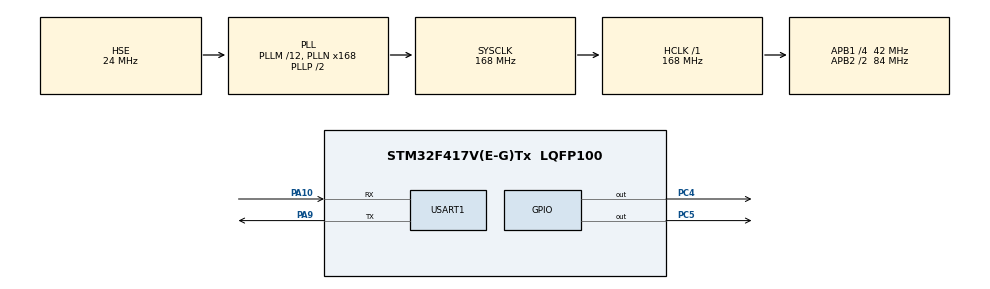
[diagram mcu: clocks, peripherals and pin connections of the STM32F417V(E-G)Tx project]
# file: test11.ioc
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FREERTOS.Tasks01=defaultTask,0,128,StartDefaultTask,Default,NULL,Dynamic,NULL,NULL;Send,1,128,SendTask,Default,NULL,Dynamic,NULL,NULL;Receive1,0,128,Receive1Task,Default,NULL,Dynamic,NULL,NULL;Receive2,-1,128,Receive2Task,Default,NULL,Dynamic,NULL,NULL
FREERTOS.configUSE_NEWLIB_REENTRANT=1
Mcu.Family=STM32F4
Mcu.Name=STM32F417V(E-G)Tx
Mcu.Package=LQFP100
NVIC.PriorityGroup=NVIC_PRIORITYGROUP_4
NVIC.TIM1_UP_TIM10_IRQn=true\:15\:0\:false\:false\:true\:false\:false\:true\:true
NVIC.TimeBase=TIM1_UP_TIM10_IRQn
NVIC.TimeBaseIP=TIM1
NVIC.USART1_IRQn=true\:5\:0\:false\:false\:true\:true\:true\:true\:true
PA10.GPIO_ModeDefaultPP=GPIO_MODE_AF_PP
PA10.GPIO_PuPd=GPIO_PULLUP
PA10.GPIO_Speed=GPIO_SPEED_FREQ_HIGH
PA10.Mode=Asynchronous
PA10.Signal=USART1_RX
PA13.Mode=Trace_Synchro_2bits_SW
PA13.Signal=SYS_JTMS-SWDIO
PA14.Mode=Trace_Synchro_2bits_SW
PA14.Signal=SYS_JTCK-SWCLK
PA9.GPIO_ModeDefaultPP=GPIO_MODE_AF_PP
PA9.GPIO_PuPd=GPIO_PULLUP
PA9.GPIO_Speed=GPIO_SPEED_FREQ_HIGH
PA9.Mode=Asynchronous
PA9.Signal=USART1_TX
PC14-OSC32_IN.Mode=LSE-External-Oscillator
PC14-OSC32_IN.Signal=RCC_OSC32_IN
PC15-OSC32_OUT.Mode=LSE-External-Oscillator
PC15-OSC32_OUT.Signal=RCC_OSC32_OUT
PC4.GPIO_ModeDefaultOutputPP=GPIO_MODE_OUTPUT_PP
PC4.GPIO_PuPd=GPIO_PULLUP
PC4.GPIO_Speed=GPIO_SPEED_FREQ_HIGH
PC4.PinState=GPIO_PIN_SET
PC4.Signal=GPIO_Output
PC5.GPIO_ModeDefaultOutputPP=GPIO_MODE_OUTPUT_PP
PC5.GPIO_PuPd=GPIO_PULLUP
PC5.GPIO_Speed=GPIO_SPEED_FREQ_HIGH
PC5.PinState=GPIO_PIN_SET
PC5.Signal=GPIO_Output
PE2.Mode=Trace_Synchro_2bits_SW
PE2.Signal=SYS_TRACECLK
PE3.Mode=Trace_Synchro_2bits_SW
PE3.Signal=SYS_TRACED0
PE4.Mode=Trace_Synchro_2bits_SW
PE4.Signal=SYS_TRACED1
PH0-OSC_IN.Mode=HSE-External-Oscillator
PH0-OSC_IN.Signal=RCC_OSC_IN
PH1-OSC_OUT.Mode=HSE-External-Oscillator
PH1-OSC_OUT.Signal=RCC_OSC_OUT
ProjectManager.HeapSize=0x200
ProjectManager.StackSize=0x400
ProjectManager.TargetToolchain=STM32CubeIDE
RCC.48MHZClocksFreq_Value=84000000
RCC.AHBFreq_Value=168000000
RCC.APB1CLKDivider=RCC_HCLK_DIV4
RCC.APB1Freq_Value=42000000
RCC.APB1TimFreq_Value=84000000
RCC.APB2CLKDivider=RCC_HCLK_DIV2
RCC.APB2Freq_Value=84000000
RCC.APB2TimFreq_Value=168000000
RCC.CortexFreq_Value=168000000
RCC.HCLKFreq_Value=168000000
RCC.HSE_VALUE=24000000
RCC.HSI_VALUE=16000000
RCC.PLLM=12
RCC.PLLN=168
RCC.PLLSourceVirtual=RCC_PLLSOURCE_HSE
RCC.SYSCLKFreq_VALUE=168000000
RCC.SYSCLKSource=RCC_SYSCLKSOURCE_PLLCLK
RCC.VCOOutputFreq_Value=336000000
USART1.VirtualMode=VM_ASYNC
VP_FREERTOS_VS_CMSIS_V1.Mode=CMSIS_V1
VP_SYS_VS_tim1.Mode=TIM1
board=custom

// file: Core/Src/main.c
/* USER CODE BEGIN Header */
/**
  ******************************************************************************
  * @file           : main.c
  * @brief          : Main program body
  ******************************************************************************
  * @attention
  *
  * Copyright (c) 2022 STMicroelectronics.
  * All rights reserved.
  *
  * This software is licensed under terms that can be found in the LICENSE file
  * in the root directory of this software component.
  * If no LICENSE file comes with this software, it is provided AS-IS.
  *
  ******************************************************************************
  */
/* USER CODE END Header */
#include "main.h"
#include "cmsis_os.h"
#include "usart.h"
#include "gpio.h"

/* USER CODE BEGIN Includes */
#include "stdio.h"	//引用标准库
/* USER CODE END Includes */

void SystemClock_Config(void);
void MX_FREERTOS_Init(void);
/* USER CODE BEGIN PFP */
#ifdef __GNUC__
#define PUTCHAR_PROTOTYPE int __io_putchar(int ch)   //STM32CubeIDE
#else

#define PUTCHAR_PROTOTYPE int fputc(int ch, FILE *f)  //Keil

#endif
PUTCHAR_PROTOTYPE
{
	HAL_UART_Transmit(&huart1, (uint8_t*)&ch, 1, HAL_MAX_DELAY);
	return ch;
}

int _write(int file, char *ptr, int len)
{
	int DataIdx;

	for(DataIdx=0; DataIdx<len; DataIdx++)
	{
		__io_putchar(*ptr++);
	}

	return len;
}
/* USER CODE END PFP */

int main(void)
{

  /* MCU Configuration--------------------------------------------------------*/

  /* Reset of all peripherals, Initializes the Flash interface and the Systick. */
  HAL_Init();

  /* Configure the system clock */
  SystemClock_Config();

  /* Initialize all configured peripherals */
  MX_GPIO_Init();
  MX_USART1_UART_Init();

  /* Call init function for freertos objects (in freertos.c) */
  MX_FREERTOS_Init();

  /* Start scheduler */
  osKernelStart();

  /* We should never get here as control is now taken by the scheduler */
  /* Infinite loop */
  while (1)
  {

  }
}

void SystemClock_Config(void)
{
  RCC_OscInitTypeDef RCC_OscInitStruct = {0};
  RCC_ClkInitTypeDef RCC_ClkInitStruct = {0};

  /** Configure the main internal regulator output voltage
  */
  __HAL_RCC_PWR_CLK_ENABLE();
  __HAL_PWR_VOLTAGESCALING_CONFIG(PWR_REGULATOR_VOLTAGE_SCALE1);

  /** Initializes the RCC Oscillators according to the specified parameters
  * in the RCC_OscInitTypeDef structure.
  */
  RCC_OscInitStruct.OscillatorType = RCC_OSCILLATORTYPE_HSE;
  RCC_OscInitStruct.HSEState = RCC_HSE_ON;
  RCC_OscInitStruct.PLL.PLLState = RCC_PLL_ON;
  RCC_OscInitStruct.PLL.PLLSource = RCC_PLLSOURCE_HSE;
  RCC_OscInitStruct.PLL.PLLM = 12;
  RCC_OscInitStruct.PLL.PLLN = 168;
  RCC_OscInitStruct.PLL.PLLP = RCC_PLLP_DIV2;
  RCC_OscInitStruct.PLL.PLLQ = 4;
  if (HAL_RCC_OscConfig(&RCC_OscInitStruct) != HAL_OK)
  {
    Error_Handler();
  }

  /** Initializes the CPU, AHB and APB buses clocks
  */
  RCC_ClkInitStruct.ClockType = RCC_CLOCKTYPE_HCLK|RCC_CLOCKTYPE_SYSCLK
                              |RCC_CLOCKTYPE_PCLK1|RCC_CLOCKTYPE_PCLK2;
  RCC_ClkInitStruct.SYSCLKSource = RCC_SYSCLKSOURCE_PLLCLK;
  RCC_ClkInitStruct.AHBCLKDivider = RCC_SYSCLK_DIV1;
  RCC_ClkInitStruct.APB1CLKDivider = RCC_HCLK_DIV4;
  RCC_ClkInitStruct.APB2CLKDivider = RCC_HCLK_DIV2;

  if (HAL_RCC_ClockConfig(&RCC_ClkInitStruct, FLASH_LATENCY_5) != HAL_OK)
  {
    Error_Handler();
  }
}

void HAL_TIM_PeriodElapsedCallback(TIM_HandleTypeDef *htim)
{
  if (htim->Instance == TIM1) {
    HAL_IncTick();
  }
}

void Error_Handler(void)
{
  __disable_irq();
  while (1)
  {
  }
}

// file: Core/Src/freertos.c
/* USER CODE BEGIN Header */
/**
  ******************************************************************************
  * File Name          : freertos.c
  * Description        : Code for freertos applications
  ******************************************************************************
  * @attention
  *
  * Copyright (c) 2022 STMicroelectronics.
  * All rights reserved.
  *
  * This software is licensed under terms that can be found in the LICENSE file
  * in the root directory of this software component.
  * If no LICENSE file comes with this software, it is provided AS-IS.
  *
  ******************************************************************************
  */
/* USER CODE END Header */

#include "FreeRTOS.h"
#include "task.h"
#include "main.h"
#include "cmsis_os.h"

/* USER CODE BEGIN Includes */
#include "stdio.h"	//引用标准库
/* USER CODE END Includes */

osThreadId defaultTaskHandle;
osThreadId SendHandle;
osThreadId Receive1Handle;
osThreadId Receive2Handle;

void StartDefaultTask(void const * argument);
void SendTask(void const * argument);
void Receive1Task(void const * argument);
void Receive2Task(void const * argument);

void MX_FREERTOS_Init(void); /* (MISRA C 2004 rule 8.1) */

/* GetIdleTaskMemory prototype (linked to static allocation support) */
void vApplicationGetIdleTaskMemory( StaticTask_t **ppxIdleTaskTCBBuffer, StackType_t **ppxIdleTaskStackBuffer, uint32_t *pulIdleTaskStackSize );

/* USER CODE BEGIN GET_IDLE_TASK_MEMORY */
static StaticTask_t xIdleTaskTCBBuffer;
static StackType_t xIdleStack[configMINIMAL_STACK_SIZE];

void vApplicationGetIdleTaskMemory( StaticTask_t **ppxIdleTaskTCBBuffer, StackType_t **ppxIdleTaskStackBuffer, uint32_t *pulIdleTaskStackSize )
{
  *ppxIdleTaskTCBBuffer = &xIdleTaskTCBBuffer;
  *ppxIdleTaskStackBuffer = &xIdleStack[0];
  *pulIdleTaskStackSize = configMINIMAL_STACK_SIZE;
  /* place for user code */
}
/* USER CODE END GET_IDLE_TASK_MEMORY */

void MX_FREERTOS_Init(void) {

  /* Create the thread(s) */
  /* definition and creation of defaultTask */
  osThreadDef(defaultTask, StartDefaultTask, osPriorityNormal, 0, 128);
  defaultTaskHandle = osThreadCreate(osThread(defaultTask), NULL);

  /* definition and creation of Send */
  osThreadDef(Send, SendTask, osPriorityAboveNormal, 0, 128);
  SendHandle = osThreadCreate(osThread(Send), NULL);

  /* definition and creation of Receive1 */
  osThreadDef(Receive1, Receive1Task, osPriorityNormal, 0, 128);
  Receive1Handle = osThreadCreate(osThread(Receive1), NULL);

  /* definition and creation of Receive2 */
  osThreadDef(Receive2, Receive2Task, osPriorityBelowNormal, 0, 128);
  Receive2Handle = osThreadCreate(osThread(Receive2), NULL);

}

void StartDefaultTask(void const * argument)
{
  /* USER CODE BEGIN StartDefaultTask */
  HAL_GPIO_WritePin(GPIOC, GPIO_PIN_4, GPIO_PIN_RESET);
  HAL_GPIO_WritePin(GPIOC, GPIO_PIN_5, GPIO_PIN_RESET);
  /* Infinite loop */
  for(;;)
  {
	osDelay(1);
  }
  /* USER CODE END StartDefaultTask */
}

void SendTask(void const * argument)
{
  /* USER CODE BEGIN SendTask */
  BaseType_t xReturn = pdPASS;/* 定义一个创建信息返回值，默认为pdPASS */
  uint32_t count = 0;
  /* Infinite loop */
  for(;;)
  {
	if(count%10==0)
	{
		xReturn = xTaskNotifyGive(Receive1Handle);
		if(xReturn == pdTRUE)
		{
			printf("Receive1_Task_Handle 任务通知释放成功！\r\n");
		}
	}
	if(count%20==0)
	{
		xReturn = xTaskNotifyGive(Receive2Handle);
		if(xReturn == pdTRUE)
		{
			printf("Receive2_Task_Handle 任务通知释放成功！\r\n");
		}
	}
	count++;
    osDelay(1000);
  }
  /* USER CODE END SendTask */
}

void Receive1Task(void const * argument)
{
  /* USER CODE BEGIN Receive1Task */
  /* Infinite loop */
  for(;;)
  {
	ulTaskNotifyTake(pdTRUE, portMAX_DELAY);
	printf("Receive1_Task 任务通知获取成功！\r\n");
	HAL_GPIO_TogglePin(GPIOC, GPIO_PIN_4);		//红灯翻转
  }
  /* USER CODE END Receive1Task */
}

void Receive2Task(void const * argument)
{
  /* USER CODE BEGIN Receive2Task */
  /* Infinite loop */
  for(;;)
  {
	ulTaskNotifyTake(pdTRUE, portMAX_DELAY);
	printf("Receive2_Task 任务通知获取成功！\r\n");
	HAL_GPIO_TogglePin(GPIOC, GPIO_PIN_5);		//黄灯翻转
  }
  /* USER CODE END Receive2Task */
}
